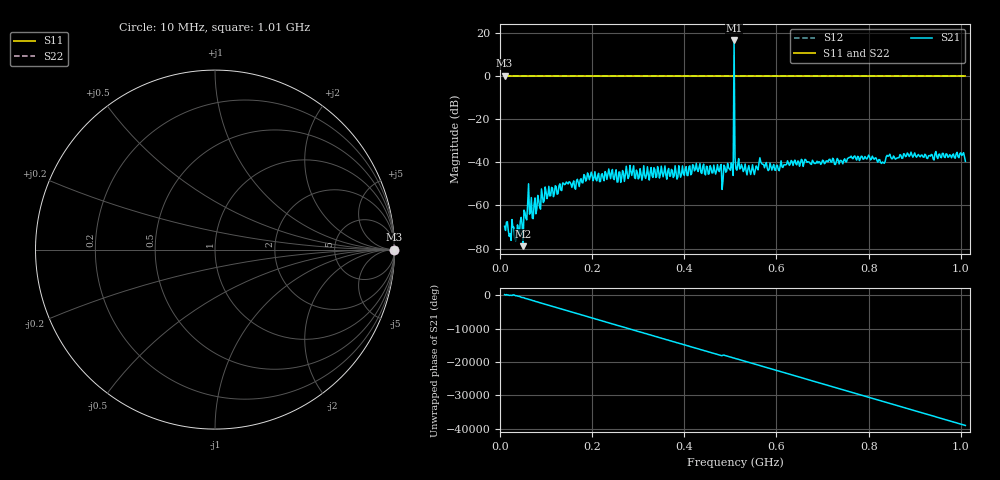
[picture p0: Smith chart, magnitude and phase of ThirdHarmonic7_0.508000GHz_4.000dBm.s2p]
! 8/17/2025 2:42:44 PM
! C:\ANRITSUVNA\TEMP\TEMP.S2P
! CHANNEL.1
! TR.MEASUREMENT
! RAW.DATA
! RF.CORRECTION.OFF
! AVERAGING.OFF
! IF.BANDWIDTH: 5KHZ
! SWEEPTYPE:  FREQ.SWEEP(Linear)
! Reference Plane Port Info
! PORT:  PORT1  PORT2
! DISTANCE:  0  m  0  m
! TIME:  0  s  0  s
! PHASE.OFFSET:  0  deg.  0  deg.
! LOSS:  0  dB  0  dB
! REF.LOSS:  0  dB  0  dB
! REF.FREQ:  0  Hz  0  Hz
! Power Info
! POWER:  -20  dBm  -20  dBm
! EFF.POWER:  -20  dBm  -20  dBm
! SOURCE.ATTEN:  0  dB  0  dB
! TEST.ATTEN:  0  dB  0  dB
# GHZ S RI R 50.0
! FREQ.GHZ  S11RE  S11IM  S21RE  S21IM  S12RE  S12IM  S22RE  S22IM
!; PortSelection: Port_12
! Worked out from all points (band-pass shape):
!   501 points, 10 MHz to 1.01 GHz, reference 50 ohm
!   highest |S21| = 16.33 dB at 508 MHz (marker M1); lowest = -78.8 dB at 50 MHz (marker M2)
!   |S21| within 3 dB of the highest: 507.9039 MHz to 508.1107 MHz (206.8 kHz wide, 0.0407 % of centre)
!   lowest |S11| = 0.0 dB at 10 MHz (marker M3)
!   |S11| at or under -10 dB: nowhere
!   |S22| runs from 0.0 to 0.0 dB; largest |S21 - S12| = 6.5
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0.01  1 0  -0.000326 5.15e-05  1 0  1 0
0.036  1 0  -0.000162 -0.000126  1 0  1 0
0.05  1 0  9.64e-05 6.2e-05  1 0  1 0
0.064  1 0  -0.000559 0.000291  1 0  1 0
0.068  1 0  0.00144 -0.000501  1 0  1 0
0.102  1 0  0.00127 0.000684  1 0  1 0
0.178  1 0  -0.00324 -0.00089  1 0  1 0
0.286  1 0  -0.00484 0.00104  1 0  1 0
0.344  1 0  0.00615 -0.00193  1 0  1 0
0.502  1 0  -0.00864 0.00434  1 0  1 0
0.504  1 0  0.00389 0.00662  1 0  1 0
0.508  1 0  0.6307 -6.526  1 0  1 0
0.51  1 0  -0.0128 0.000621  1 0  1 0
0.512  1 0  -5.44e-05 0.00701  1 0  1 0
0.514  1 0  0.00572 0.00321  1 0  1 0
0.548  1 0  -0.00205 0.00851  1 0  1 0
0.566  1 0  -0.000681 0.0101  1 0  1 0
0.594  1 0  0.00469 0.00752  1 0  1 0
0.678  1 0  0.00507 -0.00993  1 0  1 0
0.83  1 0  0.00574 -0.00837  1 0  1 0
0.844  1 0  -0.00454 0.0135  1 0  1 0
1.01  1 0  -6.52e-05 -0.0105  1 0  1 0
